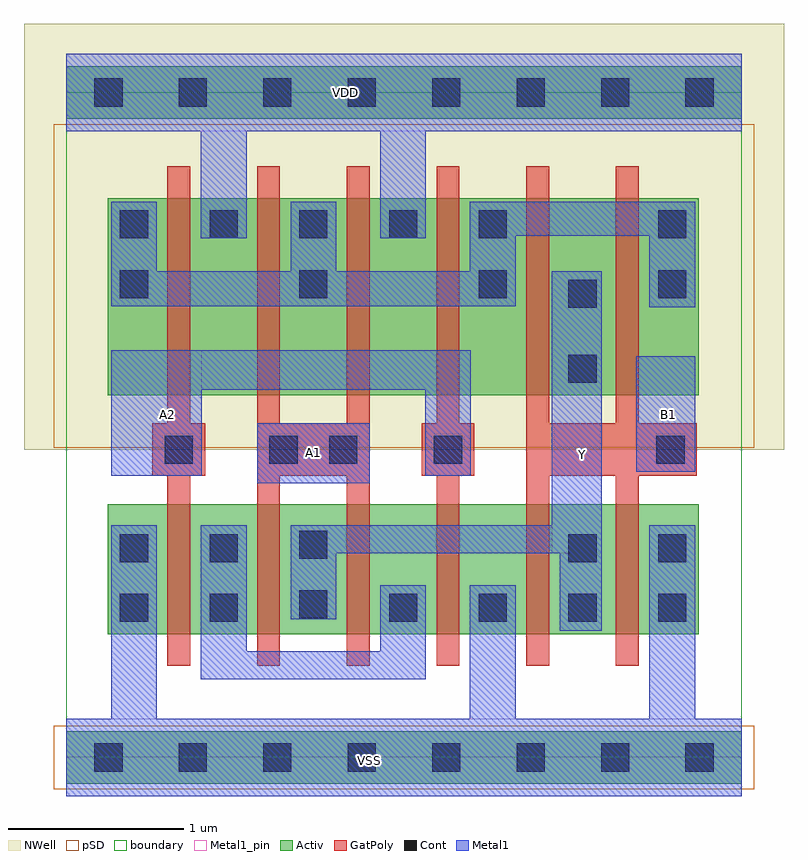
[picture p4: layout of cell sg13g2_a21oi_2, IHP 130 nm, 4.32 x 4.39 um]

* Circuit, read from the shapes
.subckt sg13g2_a21oi_2 A1 A2 B1 VDD VSS Y
XM1 n1 A2 VSS VSS sg13_lv_nmos w=0.74u l=0.13u m=2
XM2 Y A1 n1 VSS sg13_lv_nmos w=0.74u l=0.13u m=2
XM3 Y B1 VSS VSS sg13_lv_nmos w=0.74u l=0.13u m=2
XM4 VDD A2 n2 VDD sg13_lv_pmos w=1.12u l=0.13u m=2
XM5 n2 A1 VDD VDD sg13_lv_pmos w=1.12u l=0.13u m=2
XM6 Y B1 n2 VDD sg13_lv_pmos w=1.12u l=0.13u m=2
.ends

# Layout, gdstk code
import gdstk
lib = gdstk.Library(unit=1e-6, precision=1e-09)
def R(c, l, rs):  # rectangles x0, y0, x1, y1
    for r in rs: c.add(gdstk.rectangle(r[:2], r[2:], *l))
def P(c, l, *ps):  # polygons
    for p in ps: c.add(gdstk.Polygon(p, *l))
Activ = (1, 0)
GatPoly = (5, 0)
Cont = (6, 0)
Metal1 = (8, 0)
Metal1_pin = (8, 2)
pSD = (14, 0)
NWell = (31, 0)
boundary = (189, 4)

sg13g2_a21oi_2 = lib.new_cell('sg13g2_a21oi_2')
R(sg13g2_a21oi_2, Activ, [(0,-0.15,3.84,0.15), (0,-0.15,3.84,0.15), (0.235,0.7,3.595,1.44), (0.235,0.7,3.595,1.44), (0.235,2.06,3.595,3.18), (0.235,2.06,3.595,3.18), (0,3.63,3.84,3.93), (0,3.63,3.84,3.93)])
P(sg13g2_a21oi_2, GatPoly, [(2.105,0.52),(2.105,1.6),(2.02,1.6),(2.02,1.9),(2.105,1.9),(2.105,3.36),(2.235,3.36),(2.235,1.9),(2.32,1.9),(2.32,1.6),(2.235,1.6),(2.235,0.52)],
  [(0.575,0.52),(0.575,1.6),(0.49,1.6),(0.49,1.9),(0.575,1.9),(0.575,3.36),(0.705,3.36),(0.705,1.9),(0.79,1.9),(0.79,1.6),(0.705,1.6),(0.705,0.52)],
  [(2.615,0.52),(2.615,3.36),(2.745,3.36),(2.745,1.9),(3.125,1.9),(3.125,3.36),(3.255,3.36),(3.255,1.9),(3.585,1.9),(3.585,1.6),(3.255,1.6),(3.255,0.52),(3.125,0.52),(3.125,1.6),(2.745,1.6),(2.745,0.52)],
  [(1.085,0.52),(1.085,3.36),(1.215,3.36),(1.215,1.9),(1.595,1.9),(1.595,3.36),(1.725,3.36),(1.725,0.52),(1.595,0.52),(1.595,1.6),(1.215,1.6),(1.215,0.52)],
  [(2.105,0.52),(2.105,1.6),(2.02,1.6),(2.02,1.9),(2.105,1.9),(2.105,3.36),(2.235,3.36),(2.235,1.9),(2.32,1.9),(2.32,1.6),(2.235,1.6),(2.235,0.52)],
  [(0.575,0.52),(0.575,1.6),(0.49,1.6),(0.49,1.9),(0.575,1.9),(0.575,3.36),(0.705,3.36),(0.705,1.9),(0.79,1.9),(0.79,1.6),(0.705,1.6),(0.705,0.52)],
  [(2.615,0.52),(2.615,3.36),(2.745,3.36),(2.745,1.9),(3.125,1.9),(3.125,3.36),(3.255,3.36),(3.255,1.9),(3.585,1.9),(3.585,1.6),(3.255,1.6),(3.255,0.52),(3.125,0.52),(3.125,1.6),(2.745,1.6),(2.745,0.52)],
  [(1.085,0.52),(1.085,3.36),(1.215,3.36),(1.215,1.9),(1.595,1.9),(1.595,3.36),(1.725,3.36),(1.725,0.52),(1.595,0.52),(1.595,1.6),(1.215,1.6),(1.215,0.52)])
R(sg13g2_a21oi_2, Cont, [(0.16,-0.08,0.32,0.08), (0.16,-0.08,0.32,0.08), (0.64,-0.08,0.8,0.08), (0.64,-0.08,0.8,0.08), (1.12,-0.08,1.28,0.08), (1.12,-0.08,1.28,0.08), (1.6,-0.08,1.76,0.08), (1.6,-0.08,1.76,0.08), (2.08,-0.08,2.24,0.08), (2.08,-0.08,2.24,0.08), (2.56,-0.08,2.72,0.08), (2.56,-0.08,2.72,0.08), (3.04,-0.08,3.2,0.08), (3.04,-0.08,3.2,0.08), (3.52,-0.08,3.68,0.08), (3.52,-0.08,3.68,0.08), (0.305,0.77,0.465,0.93), (0.305,0.77,0.465,0.93), (0.815,0.77,0.975,0.93), (0.815,0.77,0.975,0.93), (1.835,0.77,1.995,0.93), (1.835,0.77,1.995,0.93), (2.345,0.77,2.505,0.93), (2.345,0.77,2.505,0.93), (2.855,0.77,3.015,0.93), (2.855,0.77,3.015,0.93), (3.365,0.77,3.525,0.93), (3.365,0.77,3.525,0.93), (1.325,0.79,1.485,0.95), (1.325,0.79,1.485,0.95), (0.305,1.11,0.465,1.27), (0.305,1.11,0.465,1.27), (0.815,1.11,0.975,1.27), (0.815,1.11,0.975,1.27), (2.855,1.11,3.015,1.27), (2.855,1.11,3.015,1.27), (3.365,1.11,3.525,1.27), (3.365,1.11,3.525,1.27), (1.325,1.13,1.485,1.29), (1.325,1.13,1.485,1.29), (0.56,1.67,0.72,1.83), (0.56,1.67,0.72,1.83), (1.155,1.67,1.315,1.83), (1.155,1.67,1.315,1.83), (1.495,1.67,1.655,1.83), (1.495,1.67,1.655,1.83), (2.09,1.67,2.25,1.83), (2.09,1.67,2.25,1.83), (3.355,1.67,3.515,1.83), (3.355,1.67,3.515,1.83), (2.855,2.13,3.015,2.29), (2.855,2.13,3.015,2.29), (2.855,2.555,3.015,2.715), (2.855,2.555,3.015,2.715), (0.305,2.61,0.465,2.77), (0.305,2.61,0.465,2.77), (1.325,2.61,1.485,2.77), (1.325,2.61,1.485,2.77), (2.345,2.61,2.505,2.77), (2.345,2.61,2.505,2.77), (3.365,2.61,3.525,2.77), (3.365,2.61,3.525,2.77), (0.305,2.95,0.465,3.11), (0.305,2.95,0.465,3.11), (0.815,2.95,0.975,3.11), (0.815,2.95,0.975,3.11), (1.325,2.95,1.485,3.11), (1.325,2.95,1.485,3.11), (1.835,2.95,1.995,3.11), (1.835,2.95,1.995,3.11), (2.345,2.95,2.505,3.11), (2.345,2.95,2.505,3.11), (3.365,2.95,3.525,3.11), (3.365,2.95,3.525,3.11), (0.16,3.7,0.32,3.86), (0.16,3.7,0.32,3.86), (0.64,3.7,0.8,3.86), (0.64,3.7,0.8,3.86), (1.12,3.7,1.28,3.86), (1.12,3.7,1.28,3.86), (1.6,3.7,1.76,3.86), (1.6,3.7,1.76,3.86), (2.08,3.7,2.24,3.86), (2.08,3.7,2.24,3.86), (2.56,3.7,2.72,3.86), (2.56,3.7,2.72,3.86), (3.04,3.7,3.2,3.86), (3.04,3.7,3.2,3.86), (3.52,3.7,3.68,3.86), (3.52,3.7,3.68,3.86)])
R(sg13g2_a21oi_2, Metal1, [(1.085,1.56,1.725,1.9), (1.085,1.56,1.725,1.9), (3.24,1.625,3.575,2.28), (3.24,1.625,3.575,2.28)])
P(sg13g2_a21oi_2, Metal1, [(0,-0.22),(0,0.22),(0.255,0.22),(0.255,1.32),(0.515,1.32),(0.515,0.22),(2.295,0.22),(2.295,0.98),(2.555,0.98),(2.555,0.22),(3.315,0.22),(3.315,1.32),(3.575,1.32),(3.575,0.22),(3.84,0.22),(3.84,-0.22)],
  [(0.765,2.95),(0.765,3.56),(0,3.56),(0,4),(3.84,4),(3.84,3.56),(2.045,3.56),(2.045,2.95),(1.785,2.95),(1.785,3.56),(1.025,3.56),(1.025,2.95)],
  [(3.315,2.56),(3.315,2.965),(2.555,2.965),(2.555,2.565),(0.255,2.565),(0.255,3.16),(0.515,3.16),(0.515,2.765),(1.275,2.765),(1.275,3.16),(1.535,3.16),(1.535,2.765),(2.295,2.765),(2.295,3.16),(3.575,3.16),(3.575,2.56)],
  [(2.805,0.72),(2.805,1.16),(1.535,1.16),(1.535,0.785),(1.275,0.785),(1.275,1.32),(2.76,1.32),(2.76,2.765),(3.045,2.765),(3.045,0.72)],
  [(0.765,0.445),(0.765,1.32),(1.025,1.32),(1.025,0.605),(1.785,0.605),(1.785,0.98),(2.045,0.98),(2.045,0.445)],
  [(0.255,1.6),(0.255,2.315),(2.3,2.315),(2.3,1.6),(2.04,1.6),(2.04,2.09),(0.77,2.09),(0.77,1.6)],
  [(0,-0.22),(0,0.22),(0.255,0.22),(0.255,1.32),(0.515,1.32),(0.515,0.22),(2.295,0.22),(2.295,0.98),(2.555,0.98),(2.555,0.22),(3.315,0.22),(3.315,1.32),(3.575,1.32),(3.575,0.22),(3.84,0.22),(3.84,-0.22)],
  [(0.765,2.95),(0.765,3.56),(0,3.56),(0,4),(3.84,4),(3.84,3.56),(2.045,3.56),(2.045,2.95),(1.785,2.95),(1.785,3.56),(1.025,3.56),(1.025,2.95)],
  [(3.315,2.56),(3.315,2.965),(2.555,2.965),(2.555,2.565),(0.255,2.565),(0.255,3.16),(0.515,3.16),(0.515,2.765),(1.275,2.765),(1.275,3.16),(1.535,3.16),(1.535,2.765),(2.295,2.765),(2.295,3.16),(3.575,3.16),(3.575,2.56)],
  [(2.805,0.72),(2.805,1.16),(1.535,1.16),(1.535,0.785),(1.275,0.785),(1.275,1.32),(2.76,1.32),(2.76,2.765),(3.045,2.765),(3.045,0.72)],
  [(0.765,0.445),(0.765,1.32),(1.025,1.32),(1.025,0.605),(1.785,0.605),(1.785,0.98),(2.045,0.98),(2.045,0.445)],
  [(0.255,1.6),(0.255,2.315),(2.3,2.315),(2.3,1.6),(2.04,1.6),(2.04,2.09),(0.77,2.09),(0.77,1.6)])
R(sg13g2_a21oi_2, Metal1_pin, [(0,-0.22,3.84,0.22), (0,-0.22,3.84,0.22), (2.76,1.16,3.045,2.765), (2.76,1.16,3.045,2.765), (1.085,1.56,1.725,1.9), (1.085,1.56,1.725,1.9), (0.255,1.6,0.77,2.315), (0.255,1.6,0.77,2.315), (3.24,1.625,3.575,2.28), (3.24,1.625,3.575,2.28), (0,3.56,3.84,4), (0,3.56,3.84,4)])
R(sg13g2_a21oi_2, pSD, [(-0.07,-0.18,3.91,0.18), (-0.07,-0.18,3.91,0.18), (-0.07,1.76,3.91,3.6), (-0.07,1.76,3.91,3.6)])
R(sg13g2_a21oi_2, NWell, [(-0.24,1.75,4.08,4.17), (-0.24,1.75,4.08,4.17)])
R(sg13g2_a21oi_2, boundary, [(0,0,3.84,3.78), (0,0,3.84,3.78)])
sg13g2_a21oi_2.add(gdstk.Label('Y', (2.935,1.72), layer=8, texttype=25))
sg13g2_a21oi_2.add(gdstk.Label('A2', (0.575,1.95), layer=8, texttype=25))
sg13g2_a21oi_2.add(gdstk.Label('A1', (1.405,1.735), layer=8, texttype=25))
sg13g2_a21oi_2.add(gdstk.Label('VSS', (1.725,-0.02), layer=8, texttype=25))
sg13g2_a21oi_2.add(gdstk.Label('B1', (3.425,1.95), layer=8, texttype=25))
sg13g2_a21oi_2.add(gdstk.Label('VDD', (1.585,3.78), layer=8, texttype=25))
sg13g2_a21oi_2.add(gdstk.Label('Y', (2.935,1.72), layer=8, texttype=25))
sg13g2_a21oi_2.add(gdstk.Label('A2', (0.575,1.95), layer=8, texttype=25))
sg13g2_a21oi_2.add(gdstk.Label('A1', (1.405,1.735), layer=8, texttype=25))
sg13g2_a21oi_2.add(gdstk.Label('VSS', (1.725,-0.02), layer=8, texttype=25))
sg13g2_a21oi_2.add(gdstk.Label('B1', (3.425,1.95), layer=8, texttype=25))
sg13g2_a21oi_2.add(gdstk.Label('VDD', (1.585,3.78), layer=8, texttype=25))

lib.write_gds('sg13g2_a21oi_2.gds')
